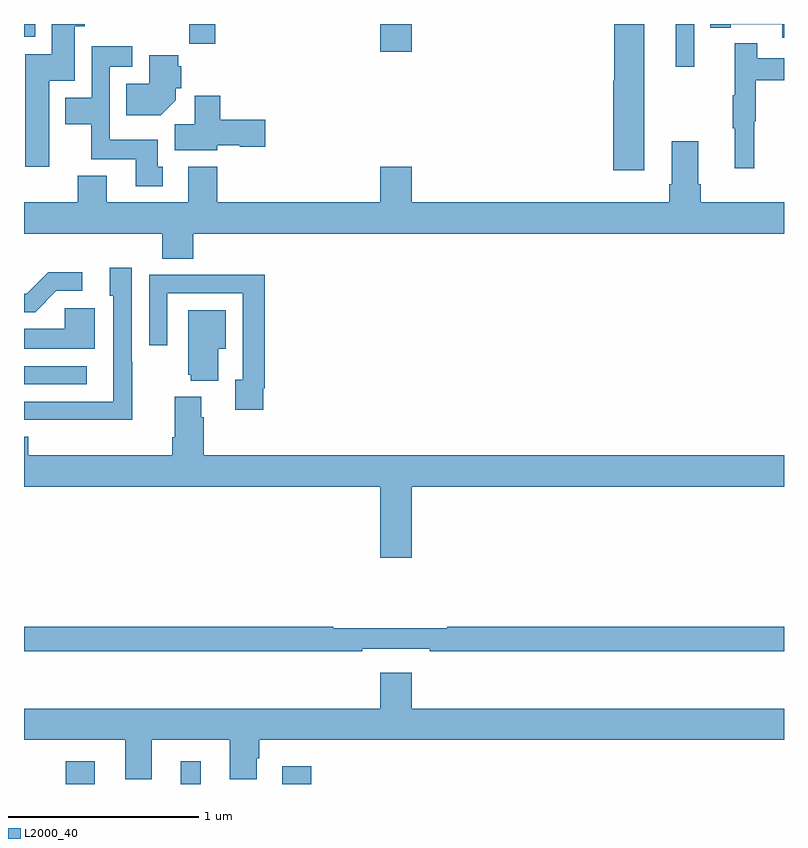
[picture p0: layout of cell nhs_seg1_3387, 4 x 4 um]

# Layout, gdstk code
import gdstk
lib = gdstk.Library(unit=1e-6, precision=1e-09)
def R(c, l, rs):  # rectangles x0, y0, x1, y1
    for r in rs: c.add(gdstk.rectangle(r[:2], r[2:], *l))
def P(c, l, *ps):  # polygons
    for p in ps: c.add(gdstk.Polygon(p, *l))
L2000_40 = (2000, 40)

nhs_seg1_3387 = lib.new_cell('nhs_seg1_3387')
R(nhs_seg1_3387, L2000_40, [(295.22,518.199,295.372,518.32), (295.826,518.199,295.93,518.32), (296.36,518.199,296.513,518.293), (295,520.302,295.33,520.398), (298.43,521.973,298.527,522.199), (296.876,522.054,297.04,522.199), (295.87,522.096,296.006,522.199), (295,522.132,295.06,522.199)])
P(nhs_seg1_3387, L2000_40, [(299,522.199),(298.612,522.199),(298.612,522.178),(298.72,522.178),(298.72,522.198),(298.992,522.198),(298.992,522.126),(299,522.126)],
  [(298.264,522.199),(298.106,522.199),(298.106,521.901),(298.1,521.901),(298.1,521.43),(298.264,521.43)],
  [(295.132,521.9),(295.267,521.9),(295.267,522.187),(295.319,522.187),(295.319,522.199),(295.145,522.199),(295.145,522.039),(295.007,522.039),(295.007,521.448),(295.132,521.448)],
  [(298.844,521.688),(298.852,521.688),(298.852,521.902),(299,521.902),(299,522.018),(298.859,522.018),(298.859,522.097),(298.742,522.097),(298.742,521.825),(298.731,521.825),(298.731,521.651),(298.742,521.651),(298.742,521.439),(298.844,521.439)],
  [(295.729,521.448),(295.705,521.448),(295.705,521.59),(295.452,521.59),(295.452,521.973),(295.57,521.973),(295.57,522.082),(295.356,522.082),(295.356,521.812),(295.217,521.812),(295.217,521.672),(295.354,521.672),(295.354,521.486),(295.589,521.486),(295.589,521.346),(295.729,521.346)],
  [(295.798,521.798),(295.798,521.862),(295.828,521.862),(295.828,521.976),(295.811,521.976),(295.811,522.034),(295.658,522.034),(295.658,521.884),(295.537,521.884),(295.537,521.72),(295.72,521.72)],
  [(296.016,521.561),(296.136,521.561),(296.136,521.554),(296.269,521.554),(296.269,521.696),(296.033,521.696),(296.033,521.821),(295.898,521.821),(295.898,521.672),(295.793,521.672),(295.793,521.534),(296.016,521.534)],
  [(299,521.26),(298.562,521.26),(298.562,521.356),(298.549,521.356),(298.549,521.581),(298.409,521.581),(298.409,521.356),(298.397,521.356),(298.397,521.26),(297.04,521.26),(297.04,521.449),(296.876,521.449),(296.876,521.26),(296.018,521.26),(296.018,521.449),(295.865,521.449),(295.865,521.26),(295.435,521.26),(295.435,521.401),(295.283,521.401),(295.283,521.26),(295,521.26),(295,521.096),(295.727,521.096),(295.727,520.963),(295.892,520.963),(295.892,521.096),(299,521.096)],
  [(295.569,520.421),(295.566,520.421),(295.566,520.915),(295.451,520.915),(295.451,520.77),(295.47,520.77),(295.47,520.466),(295.469,520.466),(295.469,520.212),(295,520.212),(295,520.116),(295.105,520.116),(295.105,520.115),(295.569,520.115)],
  [(295.171,520.794),(295.306,520.794),(295.306,520.892),(295.127,520.892),(295.014,520.779),(295,520.779),(295,520.683),(295.06,520.683)],
  [(296.26,520.282),(296.267,520.282),(296.267,520.88),(295.975,520.88),(295.975,520.878),(295.659,520.878),(295.659,520.509),(295.755,520.509),(295.755,520.782),(296.151,520.782),(296.151,520.326),(296.111,520.326),(296.111,520.17),(296.26,520.17)],
  [(295.372,520.702),(295.215,520.702),(295.215,520.594),(295,520.594),(295,520.49),(295.372,520.49)],
  [(296.023,520.49),(296.062,520.49),(296.062,520.693),(295.865,520.693),(295.865,520.353),(295.877,520.353),(295.877,520.322),(296.023,520.322)],
  [(297.04,519.764),(299,519.764),(299,519.928),(295.946,519.928),(295.946,520.13),(295.933,520.13),(295.933,520.237),(295.793,520.237),(295.793,520.024),(295.781,520.024),(295.781,519.928),(295.022,519.928),(295.022,520.027),(295,520.027),(295,519.764),(296.876,519.764),(296.876,519.39),(297.04,519.39)],
  [(296.78,518.91),(297.136,518.91),(297.136,518.898),(299,518.898),(299,519.026),(297.227,519.026),(297.227,519.019),(296.627,519.019),(296.627,519.026),(295,519.026),(295,518.898),(296.78,518.898)],
  [(295.672,518.432),(296.084,518.432),(296.084,518.224),(296.224,518.224),(296.224,518.334),(296.237,518.334),(296.237,518.432),(299,518.432),(299,518.596),(297.04,518.596),(297.04,518.785),(296.876,518.785),(296.876,518.596),(295,518.596),(295,518.432),(295.532,518.432),(295.532,518.224),(295.672,518.224)])

lib.write_gds('nhs_seg1_3387.gds')
